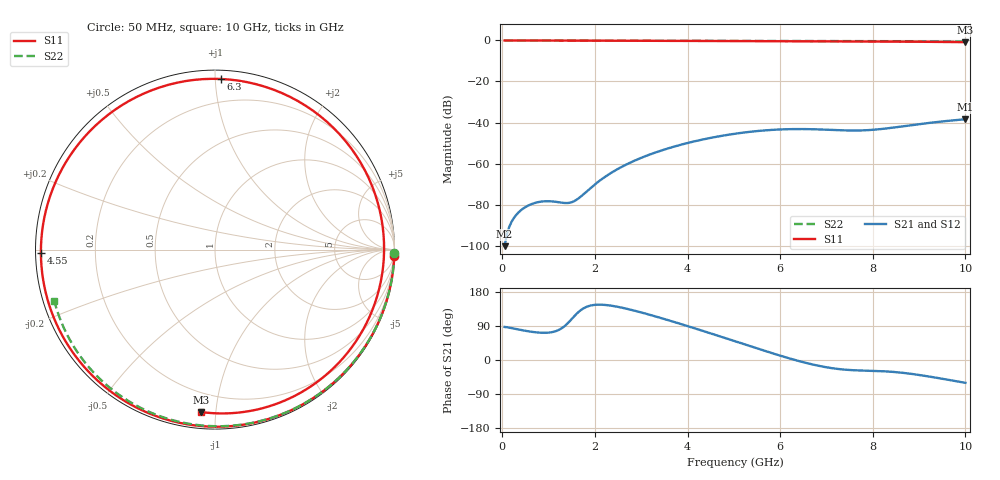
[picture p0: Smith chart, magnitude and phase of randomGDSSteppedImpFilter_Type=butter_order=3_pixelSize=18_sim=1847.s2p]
! freq	dB(S11)	phase(S11)	dB(S12)	phase(S12)
!  dB(S21)	phase(S21)	dB(S22)	phase(S22)
!S-par simulation data
#  GHz  S  DB  R 50
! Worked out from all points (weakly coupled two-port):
!   200 points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, 50 MHz to 10 GHz, reference 50 ohm
!   highest |S21| = -38.40 dB at 10 GHz (marker M1); lowest = -100.3 dB at 50 MHz (marker M2)
!   lowest |S11| = -0.8 dB at 10 GHz (marker M3), VSWR 20.79, Z = 4.43 - j45.8 ohm
!   |S11| at or under -10 dB: nowhere
!   |S22| runs from -0.5 to 0.0 dB; largest |S21 - S12| = 0
!   S11 on the Smith chart (normalised r, x): 50 MHz: 1, -58; 4.55 GHz: 0.02, -0.01; 6.3 GHz: 0.05, +1.03; 10 GHz: 0.09, -0.92
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0.05  -0.00 -2.0  -100.26 87.2  -100.26 87.2  -0.00 -1.0
0.7  -0.03 -27.1  -79.23 73.3  -79.23 73.3  -0.02 -13.1
0.95  -0.04 -36.7  -78.35 71.8  -78.35 71.8  -0.02 -17.8
1.45  -0.07 -55.7  -79.14 101.7  -79.14 101.7  -0.03 -27.0
1.75  -0.08 -67.1  -75.03 136.1  -75.03 136.1  -0.04 -32.4
2.15  -0.10 -82.2  -67.56 145.9  -67.56 145.9  -0.05 -39.6
2.55  -0.12 -97.4  -61.95 138.9  -61.95 138.9  -0.06 -46.7
3.4  -0.17 -130.3  -53.89 111.7  -53.89 111.7  -0.08 -61.4
4  -0.22 -154.8  -49.99 89.5  -49.99 89.5  -0.10 -71.5
4.55  -0.26 -178.9  -47.26 68.3  -47.26 68.3  -0.12 -80.5
5.05  -0.31 157.2  -45.38 48.5  -45.38 48.5  -0.14 -88.4
5.4  -0.35 139.2  -44.40 34.6  -44.40 34.6  -0.15 -93.9
5.75  -0.38 120.1  -43.70 20.9  -43.70 20.9  -0.17 -99.3
6.3  -0.43 88.0  -43.19 0.7  -43.19 0.7  -0.20 -107.7
6.7  -0.46 63.8  -43.26 -11.8  -43.26 -11.8  -0.22 -113.6
7.1  -0.48 39.7  -43.59 -21.2  -43.59 -21.2  -0.25 -119.5
7.5  -0.50 16.3  -43.88 -26.4  -43.88 -26.4  -0.28 -125.4
7.9  -0.52 -5.6  -43.70 -28.3  -43.70 -28.3  -0.31 -131.2
8.35  -0.56 -28.2  -42.74 -30.6  -42.74 -30.6  -0.35 -137.8
8.75  -0.60 -46.5  -41.54 -35.3  -41.54 -35.3  -0.39 -143.6
9.15  -0.66 -63.2  -40.37 -42.3  -40.37 -42.3  -0.44 -149.5
10  -0.84 -94.8  -38.40 -60.2  -38.40 -60.2  -0.54 -162.2
